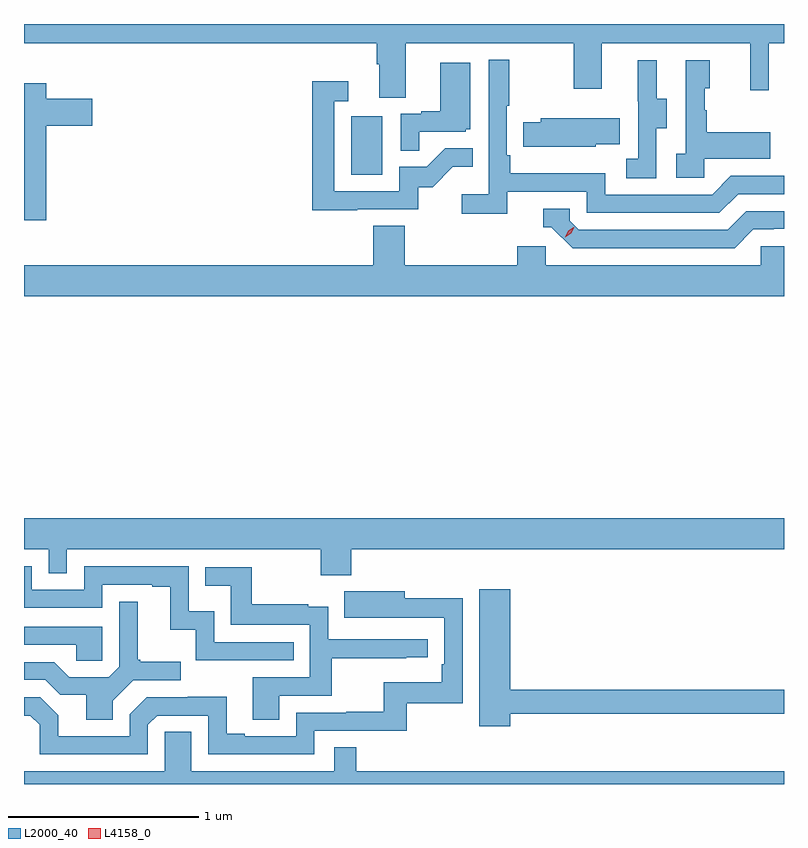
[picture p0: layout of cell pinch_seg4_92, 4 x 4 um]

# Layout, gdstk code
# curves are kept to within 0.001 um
import gdstk
lib = gdstk.Library(unit=1e-6, precision=1e-09)
def R(c, l, rs):  # rectangles x0, y0, x1, y1
    for r in rs: c.add(gdstk.rectangle(r[:2], r[2:], *l))
def P(c, l, *ps):  # polygons
    for p in ps: c.add(gdstk.Polygon(p, *l))
L2000_40 = (2000, 40)
L4158_0 = (4158, 0)

pinch_seg4_92 = lib.new_cell('pinch_seg4_92')
R(pinch_seg4_92, L2000_40, [(1019.798,810.78,1019.962,811.087)])
P(pinch_seg4_92, L2000_40, [(1018.076,811.472),(1019.933,811.472),(1019.933,811.36),(1019.945,811.36),(1019.945,811.186),(1020.085,811.186),(1020.085,811.472),(1020.97,811.472),(1020.97,811.233),(1021.117,811.233),(1021.117,811.472),(1021.898,811.472),(1021.898,811.224),(1021.995,811.224),(1021.995,811.472),(1022.076,811.472),(1022.076,811.573),(1018.076,811.573)],
  [(1020.62,810.69),(1021.038,810.69),(1021.038,810.579),(1021.735,810.579),(1021.834,810.678),(1022.076,810.678),(1022.076,810.774),(1021.797,810.774),(1021.698,810.675),(1021.134,810.675),(1021.134,810.787),(1020.635,810.787),(1020.635,810.883),(1020.618,810.883),(1020.618,811.144),(1020.631,811.144),(1020.631,811.384),(1020.522,811.384),(1020.522,810.676),(1020.381,810.676),(1020.381,810.574),(1020.62,810.574)],
  [(1021.656,810.863),(1022.003,810.863),(1022.003,811.003),(1021.669,811.003),(1021.669,811.118),(1021.659,811.118),(1021.659,811.236),(1021.684,811.236),(1021.684,811.381),(1021.56,811.381),(1021.56,810.89),(1021.509,810.89),(1021.509,810.765),(1021.656,810.765)],
  [(1021.404,811.024),(1021.459,811.024),(1021.459,811.179),(1021.405,811.179),(1021.405,811.381),(1021.307,811.381),(1021.307,811.167),(1021.308,811.167),(1021.308,810.863),(1021.245,810.863),(1021.245,810.76),(1021.404,810.76)],
  [(1020.155,811.005),(1020.402,811.005),(1020.402,811.02),(1020.424,811.02),(1020.424,811.369),(1020.266,811.369),(1020.266,811.114),(1020.167,811.114),(1020.167,811.101),(1020.06,811.101),(1020.06,810.907),(1020.155,810.907)],
  [(1019.831,810.597),(1020.15,810.597),(1020.15,810.714),(1020.226,810.714),(1020.333,810.821),(1020.437,810.821),(1020.437,810.92),(1020.293,810.92),(1020.195,810.822),(1020.051,810.822),(1020.051,810.693),(1019.709,810.693),(1019.709,811.167),(1019.782,811.167),(1019.782,811.273),(1019.593,811.273),(1019.593,810.592),(1019.831,810.592)],
  [(1018.192,811.037),(1018.435,811.037),(1018.435,811.179),(1018.192,811.179),(1018.192,811.261),(1018.076,811.261),(1018.076,810.54),(1018.192,810.54)],
  [(1021.086,810.941),(1021.211,810.941),(1021.211,811.078),(1020.797,811.078),(1020.797,811.056),(1020.703,811.056),(1020.703,810.927),(1020.814,810.927),(1020.814,810.926),(1021.086,810.926)],
  [(1021.915,810.492),(1022.022,810.492),(1022.022,810.495),(1022.076,810.495),(1022.076,810.588),(1021.878,810.588),(1021.779,810.489),(1020.996,810.489),(1020.948,810.537),(1020.948,810.6),(1020.809,810.6),(1020.809,810.504),(1020.852,810.504),(1020.963,810.393),(1021.816,810.393)],
  [(1022.076,810.402),(1021.953,810.402),(1021.953,810.304),(1020.822,810.304),(1020.822,810.402),(1020.671,810.402),(1020.671,810.304),(1020.08,810.304),(1020.08,810.512),(1019.915,810.512),(1019.915,810.304),(1018.076,810.304),(1018.076,810.14),(1022.076,810.14)],
  [(1019.798,808.808),(1022.076,808.808),(1022.076,808.972),(1018.076,808.972),(1018.076,808.808),(1018.206,808.808),(1018.206,808.681),(1018.302,808.681),(1018.302,808.808),(1019.638,808.808),(1019.638,808.673),(1019.798,808.673)],
  [(1019.495,808.32),(1019.076,808.32),(1019.076,808.483),(1018.944,808.483),(1018.944,808.719),(1018.392,808.719),(1018.392,808.596),(1018.116,808.596),(1018.116,808.719),(1018.076,808.719),(1018.076,808.5),(1018.488,808.5),(1018.488,808.623),(1018.751,808.623),(1018.751,808.611),(1018.847,808.611),(1018.847,808.385),(1018.98,808.385),(1018.98,808.224),(1019.495,808.224)],
  [(1019.419,808.038),(1019.696,808.038),(1019.696,808.234),(1020.089,808.234),(1020.089,808.239),(1020.202,808.239),(1020.202,808.335),(1019.676,808.335),(1019.676,808.507),(1019.573,808.507),(1019.573,808.519),(1019.275,808.519),(1019.275,808.713),(1019.029,808.713),(1019.029,808.616),(1019.164,808.616),(1019.164,808.41),(1019.58,808.41),(1019.58,808.134),(1019.279,808.134),(1019.279,807.91),(1019.419,807.91)],
  [(1020.634,807.942),(1022.076,807.942),(1022.076,808.07),(1020.634,808.07),(1020.634,808.597),(1020.473,808.597),(1020.473,807.876),(1020.634,807.876)],
  [(1018.728,807.885),(1018.776,807.933),(1019.046,807.933),(1019.046,807.729),(1019.604,807.729),(1019.604,807.852),(1020.091,807.852),(1020.091,807.999),(1020.384,807.999),(1020.384,808.55),(1020.079,808.55),(1020.079,808.588),(1019.761,808.588),(1019.761,808.448),(1020.288,808.449),(1020.288,808.204),(1020.275,808.204),(1020.275,808.108),(1019.97,808.108),(1019.97,807.953),(1019.773,807.953),(1019.773,807.948),(1019.508,807.948),(1019.508,807.825),(1019.239,807.825),(1019.239,807.838),(1019.143,807.838),(1019.143,808.031),(1018.938,808.031),(1018.938,808.029),(1018.722,808.029),(1018.632,807.939),(1018.632,807.825),(1018.255,807.825),(1018.255,807.935),(1018.161,808.029),(1018.076,808.029),(1018.076,807.933),(1018.11,807.933),(1018.158,807.885),(1018.158,807.729),(1018.728,807.729)],
  [(1018.543,808.012),(1018.65,808.119),(1018.9,808.119),(1018.9,808.216),(1018.687,808.216),(1018.687,808.228),(1018.675,808.228),(1018.675,808.531),(1018.578,808.531),(1018.578,808.191),(1018.521,808.134),(1018.315,808.134),(1018.234,808.215),(1018.076,808.215),(1018.076,808.122),(1018.188,808.122),(1018.268,808.042),(1018.403,808.042),(1018.403,807.91),(1018.543,807.91)],
  [(1018.488,808.401),(1018.076,808.401),(1018.076,808.305),(1018.351,808.305),(1018.351,808.221),(1018.488,808.221)],
  [(1022.076,807.64),(1019.825,807.64),(1019.825,807.767),(1019.709,807.767),(1019.709,807.64),(1018.957,807.64),(1018.957,807.848),(1018.818,807.848),(1018.818,807.64),(1018.076,807.64),(1018.076,807.573),(1022.076,807.573)])
P(pinch_seg4_92, L4158_0, [(1020.924,810.451),(1020.924,810.452),(1020.94,810.484),(1020.97,810.504),(1020.971,810.504),(1020.971,810.504),(1020.955,810.471),(1020.925,810.451)])

lib.write_gds('pinch_seg4_92.gds')
